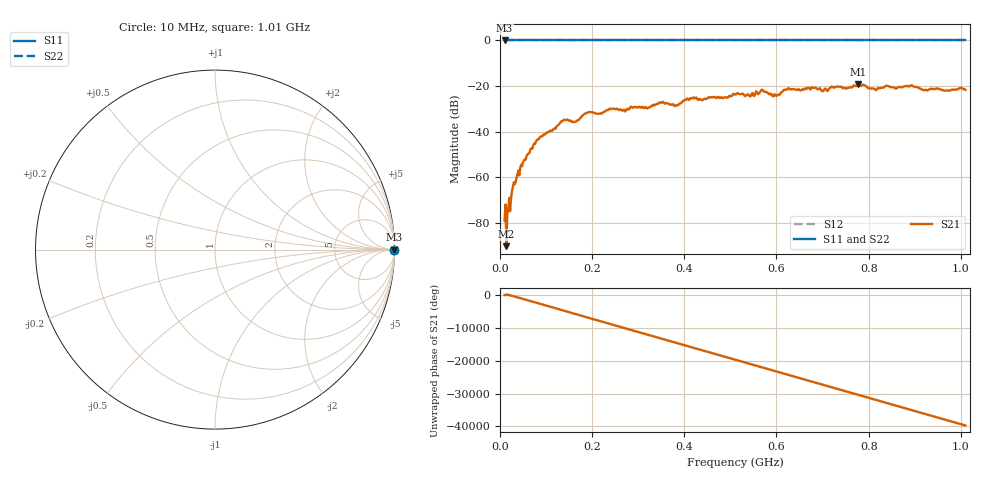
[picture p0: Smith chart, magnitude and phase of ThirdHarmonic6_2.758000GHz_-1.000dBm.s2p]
! 8/17/2025 6:56:39 AM
! C:\ANRITSUVNA\TEMP\TEMP.S2P
! CHANNEL.1
! TR.MEASUREMENT
! RAW.DATA
! RF.CORRECTION.OFF
! AVERAGING.OFF
! IF.BANDWIDTH: 5KHZ
! SWEEPTYPE:  FREQ.SWEEP(Linear)
! Reference Plane Port Info
! PORT:  PORT1  PORT2
! DISTANCE:  0  m  0  m
! TIME:  0  s  0  s
! PHASE.OFFSET:  0  deg.  0  deg.
! LOSS:  0  dB  0  dB
! REF.LOSS:  0  dB  0  dB
! REF.FREQ:  0  Hz  0  Hz
! Power Info
! POWER:  -20  dBm  -20  dBm
! EFF.POWER:  -20  dBm  -20  dBm
! SOURCE.ATTEN:  0  dB  0  dB
! TEST.ATTEN:  0  dB  0  dB
# GHZ S RI R 50.0
! FREQ.GHZ  S11RE  S11IM  S21RE  S21IM  S12RE  S12IM  S22RE  S22IM
!; PortSelection: Port_12
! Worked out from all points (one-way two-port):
!   501 points, 10 MHz to 1.01 GHz, reference 50 ohm
!   highest |S21| = -19.17 dB at 778 MHz (marker M1); lowest = -90.1 dB at 14 MHz (marker M2)
!   lowest |S11| = 0.0 dB at 10 MHz (marker M3)
!   |S11| at or under -10 dB: nowhere
!   |S22| runs from 0.0 to 0.0 dB; largest |S21 - S12| = 1.1
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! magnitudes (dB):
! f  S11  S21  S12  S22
! 10 MHz  0.0  -79.0  0.0  0.0
! 14 MHz  0.0  -90.1  0.0  0.0
! 18 MHz  0.0  -75.1  0.0  0.0
! 30 MHz  0.0  -62.2  0.0  0.0
! 42 MHz  0.0  -59.1  0.0  0.0
! 78 MHz  0.0  -44.4  0.0  0.0
! 136 MHz  0.0  -35.4  0.0  0.0
! 162 MHz  0.0  -35.6  0.0  0.0
! 178 MHz  0.0  -33.2  0.0  0.0
! 344 MHz  0.0  -27.7  0.0  0.0
! 382 MHz  0.0  -28.4  0.0  0.0
! 416 MHz  0.0  -25.5  0.0  0.0
! 510 MHz  0.0  -23.7  0.0  0.0
! 548 MHz  0.0  -23.0  0.0  0.0
! 570 MHz  0.0  -21.7  0.0  0.0
! 596 MHz  0.0  -23.6  0.0  0.0
! 622 MHz  0.0  -21.6  0.0  0.0
! 678 MHz  0.0  -20.7  0.0  0.0
! 778 MHz  0.0  -19.2  0.0  0.0
! 814 MHz  0.0  -21.5  0.0  0.0
! 844 MHz  0.0  -20.1  0.0  0.0
! 1.01 GHz  0.0  -21.6  0.0  0.0
